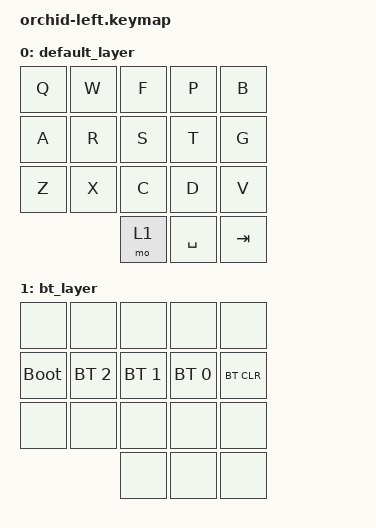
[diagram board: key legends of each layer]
#include <behaviors.dtsi>
#include <dt-bindings/zmk/keys.h>
#include <dt-bindings/zmk/bt.h>

/ {
	keymap {
		compatible = "zmk,keymap";

		default_layer {
			bindings = <
				&kp Q    &kp W    &kp F    &kp P    &kp B
				&kp A    &kp R    &kp S    &kp T    &kp G
				&kp Z    &kp X    &kp C    &kp D    &kp V
				                  &mo 1   &kp SPACE &kp TAB
			>;
		};

		bt_layer {
			bindings = <
			&none    &none    &none    &none    &none
			&bootloader &bt BT_SEL 2 &bt BT_SEL 1 &bt BT_SEL 0 &bt BT_CLR
			&none    &none    &none    &none    &none
												&none    &none    &none
			>;
		};
	};
};
